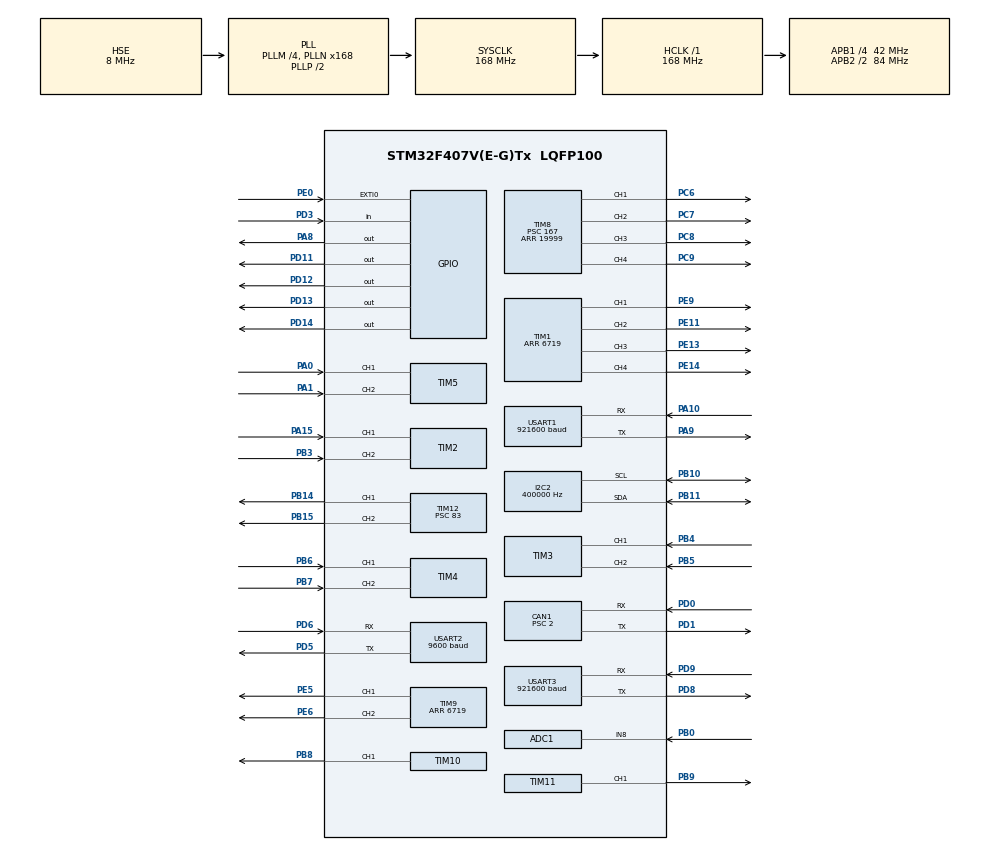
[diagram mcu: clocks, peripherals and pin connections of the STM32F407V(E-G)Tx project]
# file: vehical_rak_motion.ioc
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ADC1.Channel-1\#ChannelRegularConversion=ADC_CHANNEL_8
ADC1.ContinuousConvMode=ENABLE
ADC1.DMAContinuousRequests=ENABLE
ADC1.NbrOfConversionFlag=1
ADC1.Rank-1\#ChannelRegularConversion=1
ADC1.SamplingTime-1\#ChannelRegularConversion=ADC_SAMPLETIME_480CYCLES
ADC1.master=1
CAN1.ABOM=ENABLE
CAN1.AWUM=ENABLE
CAN1.BS1=CAN_BS1_16TQ
CAN1.BS2=CAN_BS2_4TQ
CAN1.CalculateBaudRate=1000000
CAN1.CalculateTimeBit=1000
CAN1.CalculateTimeQuantum=47.61904761904762
CAN1.NART=ENABLE
CAN1.Prescaler=2
CAN1.SJW=CAN_SJW_1TQ
Dma.ADC1.4.Direction=DMA_PERIPH_TO_MEMORY
Dma.ADC1.4.FIFOMode=DMA_FIFOMODE_DISABLE
Dma.ADC1.4.Instance=DMA2_Stream0
Dma.ADC1.4.MemDataAlignment=DMA_MDATAALIGN_HALFWORD
Dma.ADC1.4.MemInc=DMA_MINC_ENABLE
Dma.ADC1.4.Mode=DMA_CIRCULAR
Dma.ADC1.4.PeriphDataAlignment=DMA_PDATAALIGN_HALFWORD
Dma.ADC1.4.PeriphInc=DMA_PINC_DISABLE
Dma.ADC1.4.Priority=DMA_PRIORITY_LOW
Dma.Request0=USART1_RX
Dma.Request1=USART1_TX
Dma.Request2=USART3_RX
Dma.Request3=USART3_TX
Dma.Request4=ADC1
Dma.USART1_RX.0.Direction=DMA_PERIPH_TO_MEMORY
Dma.USART1_RX.0.FIFOMode=DMA_FIFOMODE_DISABLE
Dma.USART1_RX.0.Instance=DMA2_Stream2
Dma.USART1_RX.0.MemDataAlignment=DMA_MDATAALIGN_BYTE
Dma.USART1_RX.0.MemInc=DMA_MINC_ENABLE
Dma.USART1_RX.0.Mode=DMA_CIRCULAR
Dma.USART1_RX.0.PeriphDataAlignment=DMA_PDATAALIGN_BYTE
Dma.USART1_RX.0.PeriphInc=DMA_PINC_DISABLE
Dma.USART1_RX.0.Priority=DMA_PRIORITY_LOW
Dma.USART1_TX.1.Direction=DMA_MEMORY_TO_PERIPH
Dma.USART1_TX.1.FIFOMode=DMA_FIFOMODE_DISABLE
Dma.USART1_TX.1.Instance=DMA2_Stream7
Dma.USART1_TX.1.MemDataAlignment=DMA_MDATAALIGN_BYTE
Dma.USART1_TX.1.MemInc=DMA_MINC_ENABLE
Dma.USART1_TX.1.Mode=DMA_NORMAL
Dma.USART1_TX.1.PeriphDataAlignment=DMA_PDATAALIGN_BYTE
Dma.USART1_TX.1.PeriphInc=DMA_PINC_DISABLE
Dma.USART1_TX.1.Priority=DMA_PRIORITY_LOW
Dma.USART3_RX.2.Direction=DMA_PERIPH_TO_MEMORY
Dma.USART3_RX.2.FIFOMode=DMA_FIFOMODE_DISABLE
Dma.USART3_RX.2.Instance=DMA1_Stream1
Dma.USART3_RX.2.MemDataAlignment=DMA_MDATAALIGN_BYTE
Dma.USART3_RX.2.MemInc=DMA_MINC_ENABLE
Dma.USART3_RX.2.Mode=DMA_CIRCULAR
Dma.USART3_RX.2.PeriphDataAlignment=DMA_PDATAALIGN_BYTE
Dma.USART3_RX.2.PeriphInc=DMA_PINC_DISABLE
Dma.USART3_RX.2.Priority=DMA_PRIORITY_LOW
Dma.USART3_TX.3.Direction=DMA_MEMORY_TO_PERIPH
Dma.USART3_TX.3.FIFOMode=DMA_FIFOMODE_DISABLE
Dma.USART3_TX.3.Instance=DMA1_Stream3
Dma.USART3_TX.3.MemDataAlignment=DMA_MDATAALIGN_BYTE
Dma.USART3_TX.3.MemInc=DMA_MINC_ENABLE
Dma.USART3_TX.3.Mode=DMA_NORMAL
Dma.USART3_TX.3.PeriphDataAlignment=DMA_PDATAALIGN_BYTE
Dma.USART3_TX.3.PeriphInc=DMA_PINC_DISABLE
Dma.USART3_TX.3.Priority=DMA_PRIORITY_LOW
FREERTOS.Tasks01=defaultTask,24,128,StartDefaultTask,Default,NULL,Dynamic,NULL,NULL
I2C2.ClockSpeed=400000
IWDG.Prescaler=IWDG_PRESCALER_64
IWDG.Reload=1000
Mcu.Family=STM32F4
Mcu.Name=STM32F407V(E-G)Tx
Mcu.Package=LQFP100
NVIC.CAN1_RX0_IRQn=true\:6\:0\:true\:false\:true\:true\:true\:true\:true
NVIC.DMA1_Stream1_IRQn=true\:5\:0\:false\:false\:true\:true\:false\:true\:true
NVIC.DMA1_Stream3_IRQn=true\:5\:0\:false\:false\:true\:true\:false\:true\:true
NVIC.DMA2_Stream0_IRQn=true\:5\:0\:true\:false\:true\:true\:true\:true\:true
NVIC.DMA2_Stream2_IRQn=true\:5\:0\:false\:false\:true\:true\:false\:true\:true
NVIC.DMA2_Stream7_IRQn=true\:5\:0\:false\:false\:true\:true\:false\:true\:true
NVIC.EXTI0_IRQn=true\:7\:0\:true\:false\:true\:false\:true\:true\:true
NVIC.PriorityGroup=NVIC_PRIORITYGROUP_4
NVIC.TIM6_DAC_IRQn=true\:2\:0\:true\:false\:true\:true\:true\:true\:true
NVIC.TIM7_IRQn=true\:15\:0\:false\:false\:true\:false\:false\:true\:true
NVIC.TimeBase=TIM7_IRQn
NVIC.TimeBaseIP=TIM7
NVIC.USART1_IRQn=true\:5\:0\:false\:false\:true\:true\:true\:true\:true
NVIC.USART3_IRQn=true\:5\:0\:false\:false\:true\:true\:true\:true\:true
PA0-WKUP.Signal=S_TIM5_CH1
PA1.Signal=S_TIM5_CH2
PA10.Mode=Asynchronous
PA10.Signal=USART1_RX
PA13.Mode=Serial_Wire
PA13.Signal=SYS_JTMS-SWDIO
PA14.Mode=Serial_Wire
PA14.Signal=SYS_JTCK-SWCLK
PA15.Signal=S_TIM2_CH1_ETR
PA8.GPIO_ModeDefaultOutputPP=GPIO_MODE_OUTPUT_PP
PA8.Signal=GPIO_Output
PA9.Mode=Asynchronous
PA9.Signal=USART1_TX
PB0.Signal=ADCx_IN8
PB10.Mode=I2C
PB10.Signal=I2C2_SCL
PB11.Mode=I2C
PB11.Signal=I2C2_SDA
PB14.Signal=S_TIM12_CH1
PB15.Signal=S_TIM12_CH2
PB3.Signal=S_TIM2_CH2
PB4.Signal=S_TIM3_CH1
PB5.Signal=S_TIM3_CH2
PB6.Signal=S_TIM4_CH1
PB7.Signal=S_TIM4_CH2
PB8.Signal=S_TIM10_CH1
PB9.Signal=S_TIM11_CH1
PC6.Signal=S_TIM8_CH1
PC7.Signal=S_TIM8_CH2
PC8.Signal=S_TIM8_CH3
PC9.Signal=S_TIM8_CH4
PD0.Mode=CAN_Activate
PD0.Signal=CAN1_RX
PD1.Mode=CAN_Activate
PD1.Signal=CAN1_TX
PD11.GPIO_ModeDefaultOutputPP=GPIO_MODE_OUTPUT_PP
PD11.Signal=GPIO_Output
PD12.GPIO_ModeDefaultOutputPP=GPIO_MODE_OUTPUT_PP
PD12.Signal=GPIO_Output
PD13.GPIO_ModeDefaultOutputPP=GPIO_MODE_OUTPUT_PP
PD13.Signal=GPIO_Output
PD14.GPIO_ModeDefaultOutputPP=GPIO_MODE_OUTPUT_PP
PD14.Signal=GPIO_Output
PD3.GPIO_PuPd=GPIO_PULLDOWN
PD3.Signal=GPIO_Input
PD5.Mode=Asynchronous
PD5.Signal=USART2_TX
PD6.Mode=Asynchronous
PD6.Signal=USART2_RX
PD8.Mode=Asynchronous
PD8.Signal=USART3_TX
PD9.Mode=Asynchronous
PD9.Signal=USART3_RX
PE0.GPIO_ModeDefaultEXTI=GPIO_MODE_IT_RISING_FALLING
PE0.GPIO_PuPd=GPIO_PULLUP
PE0.Signal=GPXTI0
PE11.Signal=S_TIM1_CH2
PE13.Signal=S_TIM1_CH3
PE14.Signal=S_TIM1_CH4
PE5.Signal=S_TIM9_CH1
PE6.Signal=S_TIM9_CH2
PE9.Signal=S_TIM1_CH1
PH0-OSC_IN.Mode=HSE-External-Oscillator
PH0-OSC_IN.Signal=RCC_OSC_IN
PH1-OSC_OUT.Mode=HSE-External-Oscillator
PH1-OSC_OUT.Signal=RCC_OSC_OUT
ProjectManager.HeapSize=0x2000
ProjectManager.StackSize=0x4000
ProjectManager.TargetToolchain=CMake
RCC.48MHZClocksFreq_Value=48000000
RCC.AHBFreq_Value=168000000
RCC.APB1CLKDivider=RCC_HCLK_DIV4
RCC.APB1Freq_Value=42000000
RCC.APB1TimFreq_Value=84000000
RCC.APB2CLKDivider=RCC_HCLK_DIV2
RCC.APB2Freq_Value=84000000
RCC.APB2TimFreq_Value=168000000
RCC.CortexFreq_Value=168000000
RCC.HCLKFreq_Value=168000000
RCC.HSE_VALUE=8000000
RCC.HSI_VALUE=16000000
RCC.LSE_VALUE=32768
RCC.PLLM=4
RCC.PLLN=168
RCC.PLLQ=7
RCC.PLLSourceVirtual=RCC_PLLSOURCE_HSE
RCC.SYSCLKFreq_VALUE=168000000
RCC.SYSCLKSource=RCC_SYSCLKSOURCE_PLLCLK
RCC.VCOOutputFreq_Value=336000000
SH.ADCx_IN8.0=ADC1_IN8,IN8
SH.S_TIM10_CH1.0=TIM10_CH1,PWM Generation1 CH1
SH.S_TIM11_CH1.0=TIM11_CH1,PWM Generation1 CH1
SH.S_TIM12_CH1.0=TIM12_CH1,PWM Generation1 CH1
SH.S_TIM12_CH2.0=TIM12_CH2,PWM Generation2 CH2
SH.S_TIM1_CH1.0=TIM1_CH1,PWM Generation1 CH1
SH.S_TIM1_CH2.0=TIM1_CH2,PWM Generation2 CH2
SH.S_TIM1_CH3.0=TIM1_CH3,PWM Generation3 CH3
SH.S_TIM1_CH4.0=TIM1_CH4,PWM Generation4 CH4
SH.S_TIM2_CH1_ETR.0=TIM2_CH1,Encoder_Interface
SH.S_TIM2_CH2.0=TIM2_CH2,Encoder_Interface
SH.S_TIM3_CH1.0=TIM3_CH1,Encoder_Interface
SH.S_TIM3_CH2.0=TIM3_CH2,Encoder_Interface
SH.S_TIM4_CH1.0=TIM4_CH1,Encoder_Interface
SH.S_TIM4_CH2.0=TIM4_CH2,Encoder_Interface
SH.S_TIM5_CH1.0=TIM5_CH1,Encoder_Interface
SH.S_TIM5_CH2.0=TIM5_CH2,Encoder_Interface
SH.S_TIM8_CH1.0=TIM8_CH1,PWM Generation1 CH1
SH.S_TIM8_CH2.0=TIM8_CH2,PWM Generation2 CH2
SH.S_TIM8_CH3.0=TIM8_CH3,PWM Generation3 CH3
SH.S_TIM8_CH4.0=TIM8_CH4,PWM Generation4 CH4
SH.S_TIM9_CH1.0=TIM9_CH1,PWM Generation1 CH1
SH.S_TIM9_CH2.0=TIM9_CH2,PWM Generation2 CH2
TIM1.AutoReloadPreload=TIM_AUTORELOAD_PRELOAD_ENABLE
TIM1.Channel-PWM\ Generation1\ CH1=TIM_CHANNEL_1
TIM1.Channel-PWM\ Generation2\ CH2=TIM_CHANNEL_2
TIM1.Channel-PWM\ Generation3\ CH3=TIM_CHANNEL_3
TIM1.Channel-PWM\ Generation4\ CH4=TIM_CHANNEL_4
TIM1.Period=6719
TIM10.AutoReloadPreload=TIM_AUTORELOAD_PRELOAD_ENABLE
TIM10.Channel=TIM_CHANNEL_1
TIM10.Period=6719
TIM11.AutoReloadPreload=TIM_AUTORELOAD_PRELOAD_ENABLE
TIM11.Channel=TIM_CHANNEL_1
TIM11.Period=6719
TIM12.AutoReloadPreload=TIM_AUTORELOAD_PRELOAD_ENABLE
TIM12.Channel-PWM\ Generation1\ CH1=TIM_CHANNEL_1
TIM12.Channel-PWM\ Generation2\ CH2=TIM_CHANNEL_2
TIM12.Period=19999
TIM12.Prescaler=83
TIM12.Pulse-PWM\ Generation1\ CH1=1500
TIM12.Pulse-PWM\ Generation2\ CH2=1500
TIM2.EncoderMode=TIM_ENCODERMODE_TI12
TIM3.EncoderMode=TIM_ENCODERMODE_TI12
TIM4.EncoderMode=TIM_ENCODERMODE_TI12
TIM5.EncoderMode=TIM_ENCODERMODE_TI12
TIM6.Period=3359
TIM8.AutoReloadPreload=TIM_AUTORELOAD_PRELOAD_ENABLE
TIM8.Channel-PWM\ Generation1\ CH1=TIM_CHANNEL_1
TIM8.Channel-PWM\ Generation2\ CH2=TIM_CHANNEL_2
TIM8.Channel-PWM\ Generation3\ CH3=TIM_CHANNEL_3
TIM8.Channel-PWM\ Generation4\ CH4=TIM_CHANNEL_4
TIM8.Period=19999
TIM8.Prescaler=167
TIM8.Pulse-PWM\ Generation1\ CH1=1500
TIM8.Pulse-PWM\ Generation2\ CH2=1500
TIM8.Pulse-PWM\ Generation3\ CH3=1500
TIM8.Pulse-PWM\ Generation4\ CH4=1500
TIM9.AutoReloadPreload=TIM_AUTORELOAD_PRELOAD_ENABLE
TIM9.Channel-PWM\ Generation1\ CH1=TIM_CHANNEL_1
TIM9.Channel-PWM\ Generation2\ CH2=TIM_CHANNEL_2
TIM9.Period=6719
USART1.BaudRate=921600
USART1.VirtualMode=VM_ASYNC
USART2.BaudRate=9600
USART2.VirtualMode=VM_ASYNC
USART3.BaudRate=921600
USART3.VirtualMode=VM_ASYNC
VP_FREERTOS_VS_CMSIS_V2.Mode=CMSIS_V2
VP_IWDG_VS_IWDG.Mode=IWDG_Activate
VP_SYS_VS_tim7.Mode=TIM7
VP_TIM10_VS_ClockSourceINT.Mode=Enable_Timer
VP_TIM11_VS_ClockSourceINT.Mode=Enable_Timer
VP_TIM6_VS_ClockSourceINT.Mode=Enable_Timer
board=custom

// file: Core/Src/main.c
/* USER CODE BEGIN Header */
/**
  ******************************************************************************
  * @file           : main.c
  * @brief          : Main program body
  ******************************************************************************
  * @attention
  *
  * Copyright (c) 2026 STMicroelectronics.
  * All rights reserved.
  *
  * This software is licensed under terms that can be found in the LICENSE file
  * in the root directory of this software component.
  * If no LICENSE file comes with this software, it is provided AS-IS.
  *
  ******************************************************************************
  */
/* USER CODE END Header */
#include "main.h"
#include "cmsis_os.h"
#include "adc.h"
#include "can.h"
#include "dma.h"
#include "i2c.h"
#include "iwdg.h"
#include "tim.h"
#include "usart.h"
#include "gpio.h"

/* USER CODE BEGIN Includes */
#include "app_car.h"
#include "app_canopen.h"
#include "app_serial.h"
/* USER CODE END Includes */

void SystemClock_Config(void);
void MX_FREERTOS_Init(void);

int main(void)
{

  /* MCU Configuration--------------------------------------------------------*/

  /* Reset of all peripherals, Initializes the Flash interface and the Systick. */
  HAL_Init();

  /* Configure the system clock */
  SystemClock_Config();

  /* Initialize all configured peripherals */
  MX_GPIO_Init();
  MX_DMA_Init();
  MX_ADC1_Init();
  MX_IWDG_Init();
  MX_TIM1_Init();
  MX_TIM3_Init();
  MX_TIM4_Init();
  MX_TIM6_Init();
  MX_TIM8_Init();
  MX_TIM9_Init();
  MX_TIM10_Init();
  MX_TIM11_Init();
  MX_TIM12_Init();
  MX_USART1_UART_Init();
  MX_CAN1_Init();
  MX_USART3_UART_Init();
  MX_TIM2_Init();
  MX_TIM5_Init();
  MX_I2C2_Init();
  MX_USART2_UART_Init();
  /* USER CODE BEGIN 2 */
  car_init();      /* [AI]  R20: 复位原因 + 电机 PWM/编码器启动(IMU 探测;外设初始化已由 MX 完成) */
  can_init();      /* [AI]  R20: CAN 过滤器/启动/通知 + 接收队列 */
  serial_init();   /* [AI]  R20: Type-C 串口遥控(武装 RX 循环 DMA) */
  /* USER CODE END 2 */

  /* Init scheduler */
  osKernelInitialize();  /* Call init function for freertos objects (in cmsis_os2.c) */
  MX_FREERTOS_Init();

  /* Start scheduler */
  osKernelStart();

  /* We should never get here as control is now taken by the scheduler */

  /* Infinite loop */
  while (1)
  {

  }
}

void SystemClock_Config(void)
{
  RCC_OscInitTypeDef RCC_OscInitStruct = {0};
  RCC_ClkInitTypeDef RCC_ClkInitStruct = {0};

  /** Configure the main internal regulator output voltage
  */
  __HAL_RCC_PWR_CLK_ENABLE();
  __HAL_PWR_VOLTAGESCALING_CONFIG(PWR_REGULATOR_VOLTAGE_SCALE1);

  /** Initializes the RCC Oscillators according to the specified parameters
  * in the RCC_OscInitTypeDef structure.
  */
  RCC_OscInitStruct.OscillatorType = RCC_OSCILLATORTYPE_LSI|RCC_OSCILLATORTYPE_HSE;
  RCC_OscInitStruct.HSEState = RCC_HSE_ON;
  RCC_OscInitStruct.LSIState = RCC_LSI_ON;
  RCC_OscInitStruct.PLL.PLLState = RCC_PLL_ON;
  RCC_OscInitStruct.PLL.PLLSource = RCC_PLLSOURCE_HSE;
  RCC_OscInitStruct.PLL.PLLM = 4;
  RCC_OscInitStruct.PLL.PLLN = 168;
  RCC_OscInitStruct.PLL.PLLP = RCC_PLLP_DIV2;
  RCC_OscInitStruct.PLL.PLLQ = 7;
  if (HAL_RCC_OscConfig(&RCC_OscInitStruct) != HAL_OK)
  {
    Error_Handler();
  }

  /** Initializes the CPU, AHB and APB buses clocks
  */
  RCC_ClkInitStruct.ClockType = RCC_CLOCKTYPE_HCLK|RCC_CLOCKTYPE_SYSCLK
                              |RCC_CLOCKTYPE_PCLK1|RCC_CLOCKTYPE_PCLK2;
  RCC_ClkInitStruct.SYSCLKSource = RCC_SYSCLKSOURCE_PLLCLK;
  RCC_ClkInitStruct.AHBCLKDivider = RCC_SYSCLK_DIV1;
  RCC_ClkInitStruct.APB1CLKDivider = RCC_HCLK_DIV4;
  RCC_ClkInitStruct.APB2CLKDivider = RCC_HCLK_DIV2;

  if (HAL_RCC_ClockConfig(&RCC_ClkInitStruct, FLASH_LATENCY_5) != HAL_OK)
  {
    Error_Handler();
  }
}

void HAL_TIM_PeriodElapsedCallback(TIM_HandleTypeDef *htim)
{
  if (htim->Instance == TIM7)
  {
    HAL_IncTick();
  }
}

void Error_Handler(void)
{
  __disable_irq();
  while (1)
  {
  }
}

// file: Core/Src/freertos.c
/* USER CODE BEGIN Header */
/**
  ******************************************************************************
  * File Name          : freertos.c
  * Description        : Code for freertos applications
  ******************************************************************************
  * @attention
  *
  * Copyright (c) 2026 STMicroelectronics.
  * All rights reserved.
  *
  * This software is licensed under terms that can be found in the LICENSE file
  * in the root directory of this software component.
  * If no LICENSE file comes with this software, it is provided AS-IS.
  *
  ******************************************************************************
  */
/* USER CODE END Header */

#include "FreeRTOS.h"
#include "task.h"
#include "main.h"
#include "cmsis_os.h"

/* USER CODE BEGIN Includes */
#include "app_dbg.h"
#include "app_buzz.h"   /* [AI] R66 */
#include "app_bt.h"      /* [AI] R67 */
#include "app_car.h"
#include "app_canopen.h"
#include "app_canopen.h"
#include "app_oled.h"
/* USER CODE END Includes */

/* Definitions for defaultTask */
osThreadId_t defaultTaskHandle;
const osThreadAttr_t defaultTask_attributes = {
  .name = "defaultTask",
  .stack_size = 128 * 4,
  .priority = (osPriority_t) osPriorityNormal,
};

/* USER CODE BEGIN FunctionPrototypes */
static void task_control(void *argument);
static void task_can_rx(void *argument);
static void task_can_tx(void *argument);
static void task_status(void *argument);
/* USER CODE END FunctionPrototypes */

void StartDefaultTask(void *argument);

void MX_FREERTOS_Init(void); /* (MISRA C 2004 rule 8.1) */

void MX_FREERTOS_Init(void) {

  /* Create the thread(s) */
  /* creation of defaultTask */
  defaultTaskHandle = osThreadNew(StartDefaultTask, NULL, &defaultTask_attributes);

  /* USER CODE BEGIN RTOS_THREADS */
  static const osThreadAttr_t ctrl_attr = {
    .name = "ctrl", .stack_size = 4096, .priority = (osPriority_t) osPriorityHigh };
  static const osThreadAttr_t canrx_attr = {
    .name = "canrx", .stack_size = 4096, .priority = (osPriority_t) osPriorityAboveNormal };
  static const osThreadAttr_t cantx_attr = {
    .name = "cantx", .stack_size = 4096, .priority = (osPriority_t) osPriorityNormal };
  static const osThreadAttr_t stat_attr = {
    .name = "stat", .stack_size = 4096, .priority = (osPriority_t) osPriorityBelowNormal };
  /* [AI]  创建失败 = 堆不足。静默跑下去的后果是 25kHz ISR 永不启动
     （car_start_control_isr 在 ctrl 线程首拍），而板子看起来"活着"——
     这是最难查的失败模式，所以显式兜底。 */
  osThreadId_t h_ctrl  = osThreadNew(task_control, NULL, &ctrl_attr);  /* [AI]  100Hz 监督器 */
  osThreadId_t h_canrx = osThreadNew(task_can_rx, NULL, &canrx_attr);  /* [AI]  CAN 接收解析 */
  osThreadId_t h_cantx = osThreadNew(task_can_tx, NULL, &cantx_attr);  /* [AI]  1kHz 发送 */
  osThreadId_t h_stat  = osThreadNew(task_status, NULL, &stat_attr);   /* [AI]  10Hz 喂狗 */
  if (defaultTaskHandle == NULL || h_ctrl == NULL || h_canrx == NULL ||
      h_cantx == NULL || h_stat == NULL) {
    Error_Handler();
  }
  /* USER CODE END RTOS_THREADS */

}

void StartDefaultTask(void *argument)
{
  /* USER CODE BEGIN StartDefaultTask */
  BOOT_MARK(6);
  (void)argument;   /* [AI]  未使用（其余四个任务同款写法），-Wextra 要求显式 */
  /* [AI] R41 舵机测试结束：defaultTask 恢复空转；R40 的极限互切测试代码
     已整体移除（R29~R40 实测结论记录在 git 历史 46ee418..本提交）。
     实测标定结论：ch0=PC6=J6/ch2=PC8=J4/ch5=PB15=J1 舵机、
     ch1=PC7=J5 与 ch3=PC9=J3 为 0~270° 位置型、ch4=PB14=J2 为 0~135° 机械限位，
     MG995/996R 500µs=0°、2500µs=270°；J4 已换 996R 位置型（行程待复核）。 */
  for(;;)
  {
    osDelay(1000);
  }
  /* USER CODE END StartDefaultTask */
}

/* USER CODE BEGIN Application */
static void task_control(void *argument)
{
  (void)argument;
  TickType_t last = xTaskGetTickCount();
  car_start_control_isr();   /* [AI]  R3: 25kHz ISR 延迟到调度器启动后开 */
  for (;;) {
    uint32_t now = HAL_GetTick();
    app_canopen_step(now);                           /* v5: CANopen 命令/反馈桥接 */
    car_control_step(now);
    vTaskDelayUntil(&last, pdMS_TO_TICKS(10));      /* 100 Hz */
  }
}

static void task_can_rx(void *argument)
{
  (void)argument;
  for (;;) {
    can_rx_task_step();                             /* [AI]  阻塞于队列 */
  }
}

static void task_can_tx(void *argument)
{
  (void)argument;
  TickType_t last = xTaskGetTickCount();
  for (;;) {
    uint32_t now = HAL_GetTick();
    can_tx_task_step(now);
    buzz_tick(now);                                 /* [AI] R66: 蜂鸣器状态机 */
    vTaskDelayUntil(&last, pdMS_TO_TICKS(1));       /* 1 kHz */
  }
}

static void task_status(void *argument)
{
  BOOT_MARK(7);
  (void)argument;
  TickType_t last = xTaskGetTickCount();
  for (;;) {
    uint32_t now = HAL_GetTick();
    car_feed_watchdog();                            /* [AI]  10Hz 喂狗 */
    oled_show_step(now);                            /* [AI]  R13: OLED 调试显示(惰性初始化,内部 5Hz 重绘) */
    bt_step(now);                                   /* [AI] R67: 蓝牙 1 Hz 遥测（只发不收） */
    vTaskDelayUntil(&last, pdMS_TO_TICKS(100));     /* 10 Hz */
  }
}

/* [AI]  ---- FreeRTOS 失败钩子（configCHECK_FOR_STACK_OVERFLOW=2 / malloc hook）----
   板子上没有控制台。做法：把现场留成 SWD 可直读的全局量，然后关中断空转，
   让 IWDG(2s) 复位。复位原因 'I'(IWDGRSTF) 会显示在 OLED 的 P 字段上
   （car_reset_cause），所以"反复显示 P I"= 有任务栈溢出或堆耗尽。 */
volatile char     dbg_overflow_task[configMAX_TASK_NAME_LEN];
volatile uint32_t dbg_overflow_cnt;
volatile uint32_t dbg_malloc_fail_cnt;

/* 签名按 FreeRTOS 侧的 char*（cmsis_os2.c 里那份 __WEAK 空实现是
   signed char*，属 ST 的笔误；强符号覆盖它即可）。 */
void vApplicationStackOverflowHook(TaskHandle_t xTask, char *pcTaskName);
void vApplicationMallocFailedHook(void);

void vApplicationStackOverflowHook(TaskHandle_t xTask, char *pcTaskName)
{
  (void)xTask;
  dbg_overflow_cnt++;
  for (unsigned i = 0U; i < configMAX_TASK_NAME_LEN; ++i) {
    dbg_overflow_task[i] = pcTaskName[i];
    if (pcTaskName[i] == '\0') break;
  }
  taskDISABLE_INTERRUPTS();
  for (;;) { }
}

void vApplicationMallocFailedHook(void)
{
  dbg_malloc_fail_cnt++;
  taskDISABLE_INTERRUPTS();
  for (;;) { }
}

/* USER CODE END Application */
